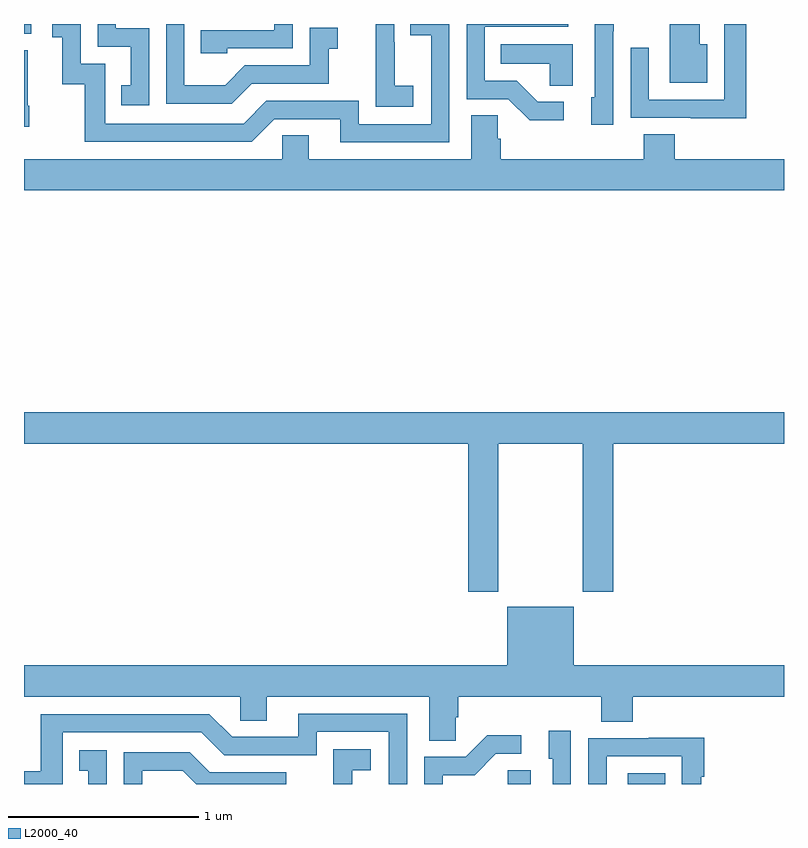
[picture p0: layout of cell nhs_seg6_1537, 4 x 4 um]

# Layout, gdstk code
import gdstk
lib = gdstk.Library(unit=1e-6, precision=1e-09)
def R(c, l, rs):  # rectangles x0, y0, x1, y1
    for r in rs: c.add(gdstk.rectangle(r[:2], r[2:], *l))
def P(c, l, *ps):  # polygons
    for p in ps: c.add(gdstk.Polygon(p, *l))
L2000_40 = (2000, 40)

nhs_seg6_1537 = lib.new_cell('nhs_seg6_1537')
R(nhs_seg6_1537, L2000_40, [(205.545,989.5,205.666,989.573), (206.177,989.5,206.374,989.557), (203,993.45,203.038,993.5)])
P(nhs_seg6_1537, L2000_40, [(206.596,993.394),(206.557,993.394),(206.557,993.5),(206.399,993.5),(206.399,993.191),(206.596,993.191)],
  [(206.1,993.463),(206.103,993.463),(206.103,993.5),(206.004,993.5),(206.004,993.114),(205.985,993.114),(205.985,992.97),(206.1,992.97)],
  [(205.239,993.5),(205.033,993.5),(205.033,993.442),(205.143,993.442),(205.143,992.973),(204.762,992.973),(204.762,993.096),(204.276,993.096),(204.156,992.976),(203.427,992.976),(203.427,993.291),(203.298,993.291),(203.298,993.5),(203.148,993.5),(203.148,993.429),(203.201,993.429),(203.201,993.183),(203.319,993.183),(203.319,992.88),(204.198,992.88),(204.318,993),(204.665,993),(204.665,992.877),(205.239,992.877)],
  [(204.199,993.186),(204.603,993.186),(204.603,993.371),(204.652,993.371),(204.652,993.481),(204.504,993.481),(204.504,993.282),(204.162,993.282),(204.058,993.178),(203.844,993.178),(203.844,993.5),(203.748,993.5),(203.748,993.081),(204.094,993.081)],
  [(205.048,993.175),(204.95,993.175),(204.95,993.404),(204.948,993.404),(204.948,993.5),(204.851,993.5),(204.851,993.271),(204.85,993.271),(204.85,993.065),(205.048,993.065)],
  [(204.069,993.372),(204.414,993.372),(204.414,993.5),(204.318,993.5),(204.318,993.468),(203.929,993.468),(203.929,993.345),(204.069,993.345)],
  [(206.801,993.5),(206.685,993.5),(206.685,993.102),(206.289,993.102),(206.289,993.376),(206.193,993.376),(206.193,993.006),(206.509,993.006),(206.509,993.005),(206.801,993.005)],
  [(205.84,993.09),(205.705,993.09),(205.594,993.201),(205.425,993.201),(205.425,993.486),(205.864,993.486),(205.864,993.5),(205.329,993.5),(205.329,993.105),(205.548,993.105),(205.661,992.993),(205.84,992.993)],
  [(203.658,993.477),(203.484,993.477),(203.484,993.5),(203.388,993.5),(203.388,993.381),(203.561,993.381),(203.561,993.177),(203.512,993.177),(203.512,993.072),(203.658,993.072)],
  [(205.888,993.394),(205.51,993.394),(205.51,993.29),(205.767,993.29),(205.767,993.175),(205.888,993.175)],
  [(203.028,993.07),(203.02,993.07),(203.02,993.361),(203,993.361),(203,992.958),(203.028,992.958)],
  [(207,992.788),(206.426,992.788),(206.426,992.921),(206.261,992.921),(206.261,992.788),(205.508,992.788),(205.508,992.897),(205.494,992.897),(205.494,993.02),(205.355,993.02),(205.355,992.788),(204.499,992.788),(204.499,992.915),(204.36,992.915),(204.36,992.788),(203,992.788),(203,992.624),(207,992.624)],
  [(205.497,991.292),(205.942,991.292),(205.942,990.513),(206.102,990.513),(206.102,991.292),(207,991.292),(207,991.456),(203,991.456),(203,991.292),(205.337,991.292),(205.337,990.513),(205.497,990.513)],
  [(205.272,989.851),(205.286,989.851),(205.286,989.96),(206.039,989.96),(206.039,989.827),(206.204,989.827),(206.204,989.96),(207,989.96),(207,990.124),(205.894,990.124),(205.894,990.433),(205.544,990.433),(205.544,990.124),(203,990.124),(203,989.96),(204.138,989.96),(204.138,989.833),(204.277,989.833),(204.277,989.96),(205.133,989.96),(205.133,989.728),(205.272,989.728)],
  [(203.205,989.772),(203.934,989.772),(204.054,989.652),(204.54,989.652),(204.54,989.775),(204.921,989.775),(204.921,989.5),(205.017,989.5),(205.017,989.871),(204.443,989.871),(204.443,989.748),(204.096,989.748),(203.976,989.868),(203.089,989.868),(203.089,989.566),(203,989.566),(203,989.5),(203.205,989.5)],
  [(205.878,989.779),(205.763,989.779),(205.763,989.634),(205.782,989.634),(205.782,989.5),(205.878,989.5)],
  [(205.203,989.547),(205.372,989.547),(205.483,989.658),(205.618,989.658),(205.618,989.756),(205.439,989.756),(205.326,989.643),(205.107,989.643),(205.107,989.5),(205.203,989.5)],
  [(206.067,989.646),(206.463,989.646),(206.463,989.5),(206.564,989.5),(206.564,989.539),(206.579,989.539),(206.579,989.744),(206.287,989.744),(206.287,989.742),(205.971,989.742),(205.971,989.5),(206.067,989.5)],
  [(204.728,989.573),(204.826,989.573),(204.826,989.683),(204.628,989.683),(204.628,989.5),(204.728,989.5)],
  [(203.436,989.677),(203.29,989.677),(203.29,989.571),(203.339,989.571),(203.339,989.5),(203.436,989.5)],
  [(203.622,989.57),(203.836,989.57),(203.906,989.5),(204.381,989.5),(204.381,989.562),(203.977,989.562),(203.872,989.667),(203.526,989.667),(203.526,989.5),(203.622,989.5)])

lib.write_gds('nhs_seg6_1537.gds')
